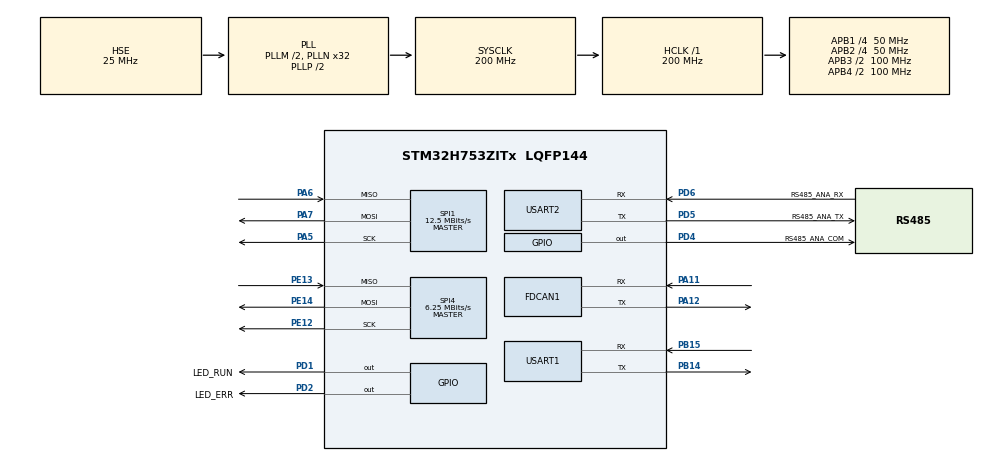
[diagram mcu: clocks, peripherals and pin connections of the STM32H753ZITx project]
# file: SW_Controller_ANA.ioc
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CORTEX_M7.default_mode_Activation=1
FDCAN1.CalculateBaudRateNominal=520833
FDCAN1.CalculateTimeBitNominal=1920
FDCAN1.CalculateTimeQuantumNominal=640.0
Mcu.Family=STM32H7
Mcu.Name=STM32H753ZITx
Mcu.Package=LQFP144
NVIC.PriorityGroup=NVIC_PRIORITYGROUP_4
NVIC.USART1_IRQn=true\:0\:0\:false\:false\:true\:true\:true\:true
NVIC.USART2_IRQn=true\:0\:0\:false\:false\:true\:true\:true\:true
PA11.Mode=FDCAN_Activate
PA11.Signal=FDCAN1_RX
PA12.Mode=FDCAN_Activate
PA12.Signal=FDCAN1_TX
PA13\ (JTMS/SWDIO).Mode=Serial_Wire
PA13\ (JTMS/SWDIO).Signal=DEBUG_JTMS-SWDIO
PA14\ (JTCK/SWCLK).Mode=Serial_Wire
PA14\ (JTCK/SWCLK).Signal=DEBUG_JTCK-SWCLK
PA5.Mode=Full_Duplex_Master
PA5.Signal=SPI1_SCK
PA6.Mode=Full_Duplex_Master
PA6.Signal=SPI1_MISO
PA7.Mode=Full_Duplex_Master
PA7.Signal=SPI1_MOSI
PB14.Mode=Asynchronous
PB14.Signal=USART1_TX
PB15.Mode=Asynchronous
PB15.Signal=USART1_RX
PC14-OSC32_IN\ (OSC32_IN).Mode=LSE-External-Oscillator
PC14-OSC32_IN\ (OSC32_IN).Signal=RCC_OSC32_IN
PC15-OSC32_OUT\ (OSC32_OUT).Mode=LSE-External-Oscillator
PC15-OSC32_OUT\ (OSC32_OUT).Signal=RCC_OSC32_OUT
PD1.GPIO_Label=LED_RUN
PD1.Signal=GPIO_Output
PD2.GPIO_Label=LED_ERR
PD2.Signal=GPIO_Output
PD4.GPIO_Label=RS485_ANA_COM
PD4.Signal=GPIO_Output
PD5.GPIO_Label=RS485_ANA_TX
PD5.Mode=Asynchronous
PD5.Signal=USART2_TX
PD6.GPIO_Label=RS485_ANA_RX
PD6.Mode=Asynchronous
PD6.Signal=USART2_RX
PE12.Mode=Full_Duplex_Master
PE12.Signal=SPI4_SCK
PE13.Mode=Full_Duplex_Master
PE13.Signal=SPI4_MISO
PE14.Mode=Full_Duplex_Master
PE14.Signal=SPI4_MOSI
PH0-OSC_IN\ (PH0).Mode=HSE-External-Oscillator
PH0-OSC_IN\ (PH0).Signal=RCC_OSC_IN
PH1-OSC_OUT\ (PH1).Mode=HSE-External-Oscillator
PH1-OSC_OUT\ (PH1).Signal=RCC_OSC_OUT
ProjectManager.HeapSize=0x200
ProjectManager.StackSize=0x400
ProjectManager.TargetToolchain=STM32CubeIDE
RCC.ADCFreq_Value=50390625
RCC.APB1Freq_Value=50000000
RCC.APB2Freq_Value=50000000
RCC.APB3Freq_Value=100000000
RCC.APB4Freq_Value=100000000
RCC.CortexFreq_Value=200000000
RCC.D1PPRE=RCC_APB3_DIV2
RCC.D2PPRE1=RCC_APB1_DIV4
RCC.D2PPRE2=RCC_APB2_DIV4
RCC.D3PPRE=RCC_APB4_DIV2
RCC.DIVM1=2
RCC.DIVN1=32
RCC.DIVQ1=4
RCC.FDCANCLockSelection=RCC_FDCANCLKSOURCE_HSE
RCC.HCLKFreq_Value=200000000
RCC.PLLFRACN=0
RCC.PLLSourceVirtual=RCC_PLLSOURCE_HSE
RCC.SYSCLKFreq_VALUE=200000000
RCC.SYSCLKSource=RCC_SYSCLKSOURCE_PLLCLK
RCC.USBFreq_Value=100000000
SPI1.BaudRatePrescaler=SPI_BAUDRATEPRESCALER_8
SPI1.CalculateBaudRate=12.5 MBits/s
SPI1.DataSize=SPI_DATASIZE_8BIT
SPI1.Direction=SPI_DIRECTION_2LINES
SPI1.Mode=SPI_MODE_MASTER
SPI1.VirtualType=VM_MASTER
SPI4.BaudRatePrescaler=SPI_BAUDRATEPRESCALER_8
SPI4.CalculateBaudRate=6.25 MBits/s
SPI4.DataSize=SPI_DATASIZE_8BIT
SPI4.Direction=SPI_DIRECTION_2LINES
SPI4.Mode=SPI_MODE_MASTER
SPI4.VirtualType=VM_MASTER
USART1.VirtualMode-Asynchronous=VM_ASYNC
USART2.VirtualMode-Asynchronous=VM_ASYNC
VP_MEMORYMAP_VS_MEMORYMAP.Mode=CurAppReg
board=custom

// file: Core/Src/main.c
/* USER CODE BEGIN Header */
/**
  ******************************************************************************
  * @file           : main.c
  * @brief          : Main program body
  ******************************************************************************
  * @attention
  *
  * Copyright (c) 2025 STMicroelectronics.
  * All rights reserved.
  *
  * This software is licensed under terms that can be found in the LICENSE file
  * in the root directory of this software component.
  * If no LICENSE file comes with this software, it is provided AS-IS.
  *
  ******************************************************************************
  */
/* USER CODE END Header */
#include "main.h"

/* USER CODE BEGIN Includes */
#include <string.h>
#include "version.h"
#include "debug_uart.h"
#include "rs485_protocol.h"
#include "analog_input_handler.h"
/* USER CODE END Includes */

FDCAN_HandleTypeDef hfdcan1;

SPI_HandleTypeDef hspi1;
SPI_HandleTypeDef hspi4;

UART_HandleTypeDef huart1;
UART_HandleTypeDef huart2;

/* USER CODE BEGIN PV */
static uint32_t heartbeatTimer = 0;
static uint32_t statusLedTimer = 0;
static uint32_t analogUpdateTimer = 0;
static char versionString[VERSION_STRING_SIZE];

/* Command handlers for analog inputs */
void HandleRead420mA(const RS485_Packet_t* packet);
void HandleReadVoltage(const RS485_Packet_t* packet);
/* USER CODE END PV */

void SystemClock_Config(void);
static void MPU_Config(void);
static void MX_GPIO_Init(void);
static void MX_FDCAN1_Init(void);
static void MX_SPI4_Init(void);
static void MX_USART1_UART_Init(void);
static void MX_USART2_UART_Init(void);
static void MX_SPI1_Init(void);

int main(void)
{

  /* MPU Configuration--------------------------------------------------------*/
  MPU_Config();

  /* MCU Configuration--------------------------------------------------------*/

  /* Reset of all peripherals, Initializes the Flash interface and the Systick. */
  HAL_Init();

  /* Configure the system clock */
  SystemClock_Config();

  /* Initialize all configured peripherals */
  MX_GPIO_Init();
  MX_FDCAN1_Init();
  MX_SPI4_Init();
  MX_USART1_UART_Init();
  MX_USART2_UART_Init();
  MX_SPI1_Init();
  /* USER CODE BEGIN 2 */

  /* Initialize Debug UART first */
  Debug_Init();

  /* Print startup banner */
  Version_GetString(versionString, VERSION_STRING_SIZE);
  DEBUG_INFO("");
  DEBUG_INFO("============================================");
  DEBUG_INFO("  ENERSION ANALOG INPUT CONTROLLER");
  DEBUG_INFO("  %s", versionString);
  DEBUG_INFO("============================================");
  DEBUG_INFO("");
  DEBUG_INFO("[BOOT] System starting...");
  DEBUG_INFO("[BOOT] MCU: STM32H753ZIT6 @ 200MHz");
  DEBUG_INFO("[BOOT] RS485 Address: 0x%02X (Controller_420)", RS485_ADDR_CONTROLLER_420);
  DEBUG_INFO("");

  /* Initialize SPI for AD4114 (Mode 3 reconfiguration done in MX_SPIx_Init) */
  DEBUG_INFO("[SPI] SPI1 configured for AD4114 #1 (Mode 3, 12.5 MHz)");
  DEBUG_INFO("[SPI] SPI4 configured for AD4114 #2 (Mode 3, 6.25 MHz)");
  DEBUG_INFO("");

  /* Initialize analog input handler (AD4114 ADCs) */
  DEBUG_INFO("[ADC] Initializing AD4114 ADC devices...");
  AnalogInput_Init();
  DEBUG_INFO("");

  /* Initialize RS485 protocol layer */
  DEBUG_INFO("[RS485] Initializing RS485 protocol...");
  RS485_Init(RS485_ADDR_CONTROLLER_420);

  /* Register analog command handlers */
  RS485_RegisterCommandHandler(CMD_READ_ANALOG_420, HandleRead420mA);
  RS485_RegisterCommandHandler(CMD_READ_ANALOG_VOLTAGE, HandleReadVoltage);
  DEBUG_INFO("[RS485] Command handlers registered:");
  DEBUG_INFO("        - CMD_READ_ANALOG_420 (0x%02X)", CMD_READ_ANALOG_420);
  DEBUG_INFO("        - CMD_READ_ANALOG_VOLTAGE (0x%02X)", CMD_READ_ANALOG_VOLTAGE);
  DEBUG_INFO("");

  DEBUG_INFO("============================================");
  DEBUG_INFO("  SYSTEM INITIALIZATION COMPLETE");
  DEBUG_INFO("============================================");
  DEBUG_INFO("");
  DEBUG_INFO("[MAIN] Entering main loop...");
  DEBUG_INFO("[MAIN] Analog update rate: 100ms");
  DEBUG_INFO("[MAIN] Status LED blink: 500ms");
  DEBUG_INFO("[MAIN] Heartbeat log: 10s");
  DEBUG_INFO("");

  heartbeatTimer = HAL_GetTick();
  statusLedTimer = HAL_GetTick();
  analogUpdateTimer = HAL_GetTick();

  /* USER CODE END 2 */

  /* Infinite loop */
  while (1)
  {

    /* USER CODE BEGIN 3 */

    /* Process RS485 communication */
    RS485_Process();

    /* Update analog inputs every 100ms */
    if (HAL_GetTick() - analogUpdateTimer >= 100) {
      analogUpdateTimer = HAL_GetTick();
      AnalogInput_Update();
    }

    /* Status LED blink (every 500ms) */
    if (HAL_GetTick() - statusLedTimer >= 500) {
      statusLedTimer = HAL_GetTick();
      HAL_GPIO_TogglePin(GPIOD, GPIO_PIN_1); // Status LED
    }

    /* Periodic heartbeat logging (every 10 seconds) */
    if (HAL_GetTick() - heartbeatTimer >= 10000) {
      heartbeatTimer = HAL_GetTick();
      RS485_Status_t* status = RS485_GetStatus();
      AnalogData_t* analog = AnalogInput_GetDataStructure();
      DEBUG_INFO("[HEARTBEAT] Uptime: %lus | RX: %lu | TX: %lu | Err: %lu | Health: %d%%",
                 status->uptime, status->rxPacketCount,
                 status->txPacketCount, status->errorCount, status->health);
      DEBUG_INFO("[HEARTBEAT] ADC Updates: %lu | Last: %lums ago",
                 analog->update_count,
                 HAL_GetTick() - analog->last_update_time);
    }

    /* Small delay to prevent CPU hogging */
    HAL_Delay(1);
  }
  /* USER CODE END 3 */
}

void SystemClock_Config(void)
{
  RCC_OscInitTypeDef RCC_OscInitStruct = {0};
  RCC_ClkInitTypeDef RCC_ClkInitStruct = {0};

  /** Supply configuration update enable
  */
  HAL_PWREx_ConfigSupply(PWR_LDO_SUPPLY);

  /** Configure the main internal regulator output voltage
  */
  __HAL_PWR_VOLTAGESCALING_CONFIG(PWR_REGULATOR_VOLTAGE_SCALE3);

  while(!__HAL_PWR_GET_FLAG(PWR_FLAG_VOSRDY)) {}

  /** Initializes the RCC Oscillators according to the specified parameters
  * in the RCC_OscInitTypeDef structure.
  */
  RCC_OscInitStruct.OscillatorType = RCC_OSCILLATORTYPE_HSE;
  RCC_OscInitStruct.HSEState = RCC_HSE_ON;
  RCC_OscInitStruct.PLL.PLLState = RCC_PLL_ON;
  RCC_OscInitStruct.PLL.PLLSource = RCC_PLLSOURCE_HSE;
  RCC_OscInitStruct.PLL.PLLM = 2;
  RCC_OscInitStruct.PLL.PLLN = 32;
  RCC_OscInitStruct.PLL.PLLP = 2;
  RCC_OscInitStruct.PLL.PLLQ = 4;
  RCC_OscInitStruct.PLL.PLLR = 2;
  RCC_OscInitStruct.PLL.PLLRGE = RCC_PLL1VCIRANGE_3;
  RCC_OscInitStruct.PLL.PLLVCOSEL = RCC_PLL1VCOWIDE;
  RCC_OscInitStruct.PLL.PLLFRACN = 0;
  if (HAL_RCC_OscConfig(&RCC_OscInitStruct) != HAL_OK)
  {
    Error_Handler();
  }

  /** Initializes the CPU, AHB and APB buses clocks
  */
  RCC_ClkInitStruct.ClockType = RCC_CLOCKTYPE_HCLK|RCC_CLOCKTYPE_SYSCLK
                              |RCC_CLOCKTYPE_PCLK1|RCC_CLOCKTYPE_PCLK2
                              |RCC_CLOCKTYPE_D3PCLK1|RCC_CLOCKTYPE_D1PCLK1;
  RCC_ClkInitStruct.SYSCLKSource = RCC_SYSCLKSOURCE_PLLCLK;
  RCC_ClkInitStruct.SYSCLKDivider = RCC_SYSCLK_DIV1;
  RCC_ClkInitStruct.AHBCLKDivider = RCC_HCLK_DIV1;
  RCC_ClkInitStruct.APB3CLKDivider = RCC_APB3_DIV2;
  RCC_ClkInitStruct.APB1CLKDivider = RCC_APB1_DIV4;
  RCC_ClkInitStruct.APB2CLKDivider = RCC_APB2_DIV4;
  RCC_ClkInitStruct.APB4CLKDivider = RCC_APB4_DIV2;

  if (HAL_RCC_ClockConfig(&RCC_ClkInitStruct, FLASH_LATENCY_4) != HAL_OK)
  {
    Error_Handler();
  }
}

static void MX_FDCAN1_Init(void)
{

  hfdcan1.Instance = FDCAN1;
  hfdcan1.Init.FrameFormat = FDCAN_FRAME_CLASSIC;
  hfdcan1.Init.Mode = FDCAN_MODE_NORMAL;
  hfdcan1.Init.AutoRetransmission = DISABLE;
  hfdcan1.Init.TransmitPause = DISABLE;
  hfdcan1.Init.ProtocolException = DISABLE;
  hfdcan1.Init.NominalPrescaler = 16;
  hfdcan1.Init.NominalSyncJumpWidth = 1;
  hfdcan1.Init.NominalTimeSeg1 = 1;
  hfdcan1.Init.NominalTimeSeg2 = 1;
  hfdcan1.Init.DataPrescaler = 1;
  hfdcan1.Init.DataSyncJumpWidth = 1;
  hfdcan1.Init.DataTimeSeg1 = 1;
  hfdcan1.Init.DataTimeSeg2 = 1;
  hfdcan1.Init.MessageRAMOffset = 0;
  hfdcan1.Init.StdFiltersNbr = 0;
  hfdcan1.Init.ExtFiltersNbr = 0;
  hfdcan1.Init.RxFifo0ElmtsNbr = 0;
  hfdcan1.Init.RxFifo0ElmtSize = FDCAN_DATA_BYTES_8;
  hfdcan1.Init.RxFifo1ElmtsNbr = 0;
  hfdcan1.Init.RxFifo1ElmtSize = FDCAN_DATA_BYTES_8;
  hfdcan1.Init.RxBuffersNbr = 0;
  hfdcan1.Init.RxBufferSize = FDCAN_DATA_BYTES_8;
  hfdcan1.Init.TxEventsNbr = 0;
  hfdcan1.Init.TxBuffersNbr = 0;
  hfdcan1.Init.TxFifoQueueElmtsNbr = 0;
  hfdcan1.Init.TxFifoQueueMode = FDCAN_TX_FIFO_OPERATION;
  hfdcan1.Init.TxElmtSize = FDCAN_DATA_BYTES_8;
  if (HAL_FDCAN_Init(&hfdcan1) != HAL_OK)
  {
    Error_Handler();
  }

}

static void MX_SPI1_Init(void)
{

  /* SPI1 parameter configuration*/
  hspi1.Instance = SPI1;
  hspi1.Init.Mode = SPI_MODE_MASTER;
  hspi1.Init.Direction = SPI_DIRECTION_2LINES;
  hspi1.Init.DataSize = SPI_DATASIZE_8BIT;
  hspi1.Init.CLKPolarity = SPI_POLARITY_LOW;
  hspi1.Init.CLKPhase = SPI_PHASE_1EDGE;
  hspi1.Init.NSS = SPI_NSS_SOFT;
  hspi1.Init.BaudRatePrescaler = SPI_BAUDRATEPRESCALER_8;
  hspi1.Init.FirstBit = SPI_FIRSTBIT_MSB;
  hspi1.Init.TIMode = SPI_TIMODE_DISABLE;
  hspi1.Init.CRCCalculation = SPI_CRCCALCULATION_DISABLE;
  hspi1.Init.CRCPolynomial = 0x0;
  hspi1.Init.NSSPMode = SPI_NSS_PULSE_ENABLE;
  hspi1.Init.NSSPolarity = SPI_NSS_POLARITY_LOW;
  hspi1.Init.FifoThreshold = SPI_FIFO_THRESHOLD_01DATA;
  hspi1.Init.TxCRCInitializationPattern = SPI_CRC_INITIALIZATION_ALL_ZERO_PATTERN;
  hspi1.Init.RxCRCInitializationPattern = SPI_CRC_INITIALIZATION_ALL_ZERO_PATTERN;
  hspi1.Init.MasterSSIdleness = SPI_MASTER_SS_IDLENESS_00CYCLE;
  hspi1.Init.MasterInterDataIdleness = SPI_MASTER_INTERDATA_IDLENESS_00CYCLE;
  hspi1.Init.MasterReceiverAutoSusp = SPI_MASTER_RX_AUTOSUSP_DISABLE;
  hspi1.Init.MasterKeepIOState = SPI_MASTER_KEEP_IO_STATE_DISABLE;
  hspi1.Init.IOSwap = SPI_IO_SWAP_DISABLE;
  if (HAL_SPI_Init(&hspi1) != HAL_OK)
  {
    Error_Handler();
  }
  /* USER CODE BEGIN SPI1_Init 2 */
  /* Reconfigure SPI1 for AD4114 (SPI Mode 3: CPOL=1, CPHA=1) */
  /* Also slow down clock for better reliability */
  hspi1.Init.CLKPolarity = SPI_POLARITY_HIGH;
  hspi1.Init.CLKPhase = SPI_PHASE_2EDGE;
  hspi1.Init.BaudRatePrescaler = SPI_BAUDRATEPRESCALER_32;  /* Slower clock */
  if (HAL_SPI_Init(&hspi1) != HAL_OK)
  {
    Error_Handler();
  }
  /* USER CODE END SPI1_Init 2 */

}

static void MX_SPI4_Init(void)
{

  /* SPI4 parameter configuration*/
  hspi4.Instance = SPI4;
  hspi4.Init.Mode = SPI_MODE_MASTER;
  hspi4.Init.Direction = SPI_DIRECTION_2LINES;
  hspi4.Init.DataSize = SPI_DATASIZE_8BIT;
  hspi4.Init.CLKPolarity = SPI_POLARITY_LOW;
  hspi4.Init.CLKPhase = SPI_PHASE_1EDGE;
  hspi4.Init.NSS = SPI_NSS_SOFT;
  hspi4.Init.BaudRatePrescaler = SPI_BAUDRATEPRESCALER_8;
  hspi4.Init.FirstBit = SPI_FIRSTBIT_MSB;
  hspi4.Init.TIMode = SPI_TIMODE_DISABLE;
  hspi4.Init.CRCCalculation = SPI_CRCCALCULATION_DISABLE;
  hspi4.Init.CRCPolynomial = 0x0;
  hspi4.Init.NSSPMode = SPI_NSS_PULSE_ENABLE;
  hspi4.Init.NSSPolarity = SPI_NSS_POLARITY_LOW;
  hspi4.Init.FifoThreshold = SPI_FIFO_THRESHOLD_01DATA;
  hspi4.Init.TxCRCInitializationPattern = SPI_CRC_INITIALIZATION_ALL_ZERO_PATTERN;
  hspi4.Init.RxCRCInitializationPattern = SPI_CRC_INITIALIZATION_ALL_ZERO_PATTERN;
  hspi4.Init.MasterSSIdleness = SPI_MASTER_SS_IDLENESS_00CYCLE;
  hspi4.Init.MasterInterDataIdleness = SPI_MASTER_INTERDATA_IDLENESS_00CYCLE;
  hspi4.Init.MasterReceiverAutoSusp = SPI_MASTER_RX_AUTOSUSP_DISABLE;
  hspi4.Init.MasterKeepIOState = SPI_MASTER_KEEP_IO_STATE_DISABLE;
  hspi4.Init.IOSwap = SPI_IO_SWAP_DISABLE;
  if (HAL_SPI_Init(&hspi4) != HAL_OK)
  {
    Error_Handler();
  }
  /* USER CODE BEGIN SPI4_Init 2 */
  /* Reconfigure SPI4 for AD4114 (SPI Mode 3: CPOL=1, CPHA=1) */
  /* Also slow down clock for better reliability */
  hspi4.Init.CLKPolarity = SPI_POLARITY_HIGH;
  hspi4.Init.CLKPhase = SPI_PHASE_2EDGE;
  hspi4.Init.BaudRatePrescaler = SPI_BAUDRATEPRESCALER_32;  /* Slower clock */
  if (HAL_SPI_Init(&hspi4) != HAL_OK)
  {
    Error_Handler();
  }
  /* USER CODE END SPI4_Init 2 */

}

static void MX_USART1_UART_Init(void)
{

  huart1.Instance = USART1;
  huart1.Init.BaudRate = 115200;
  huart1.Init.WordLength = UART_WORDLENGTH_8B;
  huart1.Init.StopBits = UART_STOPBITS_1;
  huart1.Init.Parity = UART_PARITY_NONE;
  huart1.Init.Mode = UART_MODE_TX_RX;
  huart1.Init.HwFlowCtl = UART_HWCONTROL_NONE;
  huart1.Init.OverSampling = UART_OVERSAMPLING_16;
  huart1.Init.OneBitSampling = UART_ONE_BIT_SAMPLE_DISABLE;
  huart1.Init.ClockPrescaler = UART_PRESCALER_DIV1;
  huart1.AdvancedInit.AdvFeatureInit = UART_ADVFEATURE_NO_INIT;
  if (HAL_UART_Init(&huart1) != HAL_OK)
  {
    Error_Handler();
  }
  if (HAL_UARTEx_SetTxFifoThreshold(&huart1, UART_TXFIFO_THRESHOLD_1_8) != HAL_OK)
  {
    Error_Handler();
  }
  if (HAL_UARTEx_SetRxFifoThreshold(&huart1, UART_RXFIFO_THRESHOLD_1_8) != HAL_OK)
  {
    Error_Handler();
  }
  if (HAL_UARTEx_DisableFifoMode(&huart1) != HAL_OK)
  {
    Error_Handler();
  }

}

static void MX_USART2_UART_Init(void)
{

  huart2.Instance = USART2;
  huart2.Init.BaudRate = 115200;
  huart2.Init.WordLength = UART_WORDLENGTH_8B;
  huart2.Init.StopBits = UART_STOPBITS_1;
  huart2.Init.Parity = UART_PARITY_NONE;
  huart2.Init.Mode = UART_MODE_TX_RX;
  huart2.Init.HwFlowCtl = UART_HWCONTROL_NONE;
  huart2.Init.OverSampling = UART_OVERSAMPLING_16;
  huart2.Init.OneBitSampling = UART_ONE_BIT_SAMPLE_DISABLE;
  huart2.Init.ClockPrescaler = UART_PRESCALER_DIV1;
  huart2.AdvancedInit.AdvFeatureInit = UART_ADVFEATURE_NO_INIT;
  if (HAL_UART_Init(&huart2) != HAL_OK)
  {
    Error_Handler();
  }
  if (HAL_UARTEx_SetTxFifoThreshold(&huart2, UART_TXFIFO_THRESHOLD_1_8) != HAL_OK)
  {
    Error_Handler();
  }
  if (HAL_UARTEx_SetRxFifoThreshold(&huart2, UART_RXFIFO_THRESHOLD_1_8) != HAL_OK)
  {
    Error_Handler();
  }
  if (HAL_UARTEx_DisableFifoMode(&huart2) != HAL_OK)
  {
    Error_Handler();
  }

}

static void MX_GPIO_Init(void)
{
  GPIO_InitTypeDef GPIO_InitStruct = {0};

  /* GPIO Ports Clock Enable */
  __HAL_RCC_GPIOC_CLK_ENABLE();
  __HAL_RCC_GPIOH_CLK_ENABLE();
  __HAL_RCC_GPIOA_CLK_ENABLE();
  __HAL_RCC_GPIOE_CLK_ENABLE();
  __HAL_RCC_GPIOB_CLK_ENABLE();
  __HAL_RCC_GPIOD_CLK_ENABLE();

  /*Configure GPIO pin Output Level */
  HAL_GPIO_WritePin(GPIOD, LED_RUN_Pin|LED_ERR_Pin|RS485_ANA_COM_Pin, GPIO_PIN_RESET);

  /*Configure GPIO pins : LED_RUN_Pin LED_ERR_Pin RS485_ANA_COM_Pin */
  GPIO_InitStruct.Pin = LED_RUN_Pin|LED_ERR_Pin|RS485_ANA_COM_Pin;
  GPIO_InitStruct.Mode = GPIO_MODE_OUTPUT_PP;
  GPIO_InitStruct.Pull = GPIO_NOPULL;
  GPIO_InitStruct.Speed = GPIO_SPEED_FREQ_LOW;
  HAL_GPIO_Init(GPIOD, &GPIO_InitStruct);

}

/* USER CODE BEGIN 4 */

/**
 * @brief  Handle Read 4-20mA command
 * @param  packet: Received packet
 * @retval None
 */
void HandleRead420mA(const RS485_Packet_t* packet)
{
    DEBUG_INFO("READ_420MA command from 0x%02X", packet->srcAddr);

    // Get all 4-20mA values: raw ADC (uint16) + float (26 channels × 6 bytes = 156 bytes)
    uint8_t analogData[NUM_420MA_CHANNELS * 6];

    for (uint8_t i = 0; i < NUM_420MA_CHANNELS; i++) {
        uint16_t raw = AnalogInput_Get420mA_Raw(i);
        float value = AnalogInput_Get420mA_Current(i);

        // Pack: raw (2 bytes) + float (4 bytes)
        memcpy(&analogData[i * 6], &raw, 2);
        memcpy(&analogData[i * 6 + 2], &value, 4);

        if (i < 5) {  // Debug first 5 channels
            DEBUG_DEBUG("AI%d: RAW=%u, %.2f mA", i, raw, value);
        }
    }

    RS485_SendResponse(packet->srcAddr, CMD_ANALOG_420_RESPONSE,
                      analogData, sizeof(analogData));

    DEBUG_INFO("4-20mA data sent (26 channels, 156 bytes)");
}

/**
 * @brief  Handle Read Voltage command
 * @param  packet: Received packet
 * @retval None
 */
void HandleReadVoltage(const RS485_Packet_t* packet)
{
    DEBUG_INFO("READ_VOLTAGE command from 0x%02X", packet->srcAddr);

    // Get all 0-10V values: raw ADC (uint16) + float (6 channels × 6 bytes = 36 bytes)
    uint8_t voltageData[NUM_VOLTAGE_CHANNELS * 6];

    for (uint8_t i = 0; i < NUM_VOLTAGE_CHANNELS; i++) {
        uint16_t raw = AnalogInput_GetVoltage_Raw(i);
        float value = AnalogInput_GetVoltage_V(i);

        // Pack: raw (2 bytes) + float (4 bytes)
        memcpy(&voltageData[i * 6], &raw, 2);
        memcpy(&voltageData[i * 6 + 2], &value, 4);

        DEBUG_DEBUG("V%d: RAW=%u, %.2f V", i, raw, value);
    }

    RS485_SendResponse(packet->srcAddr, CMD_ANALOG_VOLTAGE_RESPONSE,
                      voltageData, sizeof(voltageData));

    DEBUG_INFO("0-10V data sent (6 channels, 36 bytes)");
}

/* USER CODE END 4 */

 /* MPU Configuration */

void MPU_Config(void)
{
  MPU_Region_InitTypeDef MPU_InitStruct = {0};

  /* Disables the MPU */
  HAL_MPU_Disable();

  /** Initializes and configures the Region and the memory to be protected
  */
  MPU_InitStruct.Enable = MPU_REGION_ENABLE;
  MPU_InitStruct.Number = MPU_REGION_NUMBER0;
  MPU_InitStruct.BaseAddress = 0x0;
  MPU_InitStruct.Size = MPU_REGION_SIZE_4GB;
  MPU_InitStruct.SubRegionDisable = 0x87;
  MPU_InitStruct.TypeExtField = MPU_TEX_LEVEL0;
  MPU_InitStruct.AccessPermission = MPU_REGION_NO_ACCESS;
  MPU_InitStruct.DisableExec = MPU_INSTRUCTION_ACCESS_DISABLE;
  MPU_InitStruct.IsShareable = MPU_ACCESS_SHAREABLE;
  MPU_InitStruct.IsCacheable = MPU_ACCESS_NOT_CACHEABLE;
  MPU_InitStruct.IsBufferable = MPU_ACCESS_NOT_BUFFERABLE;

  HAL_MPU_ConfigRegion(&MPU_InitStruct);
  /* Enables the MPU */
  HAL_MPU_Enable(MPU_PRIVILEGED_DEFAULT);

}

void Error_Handler(void)
{
  __disable_irq();
  while (1)
  {
  }
}
